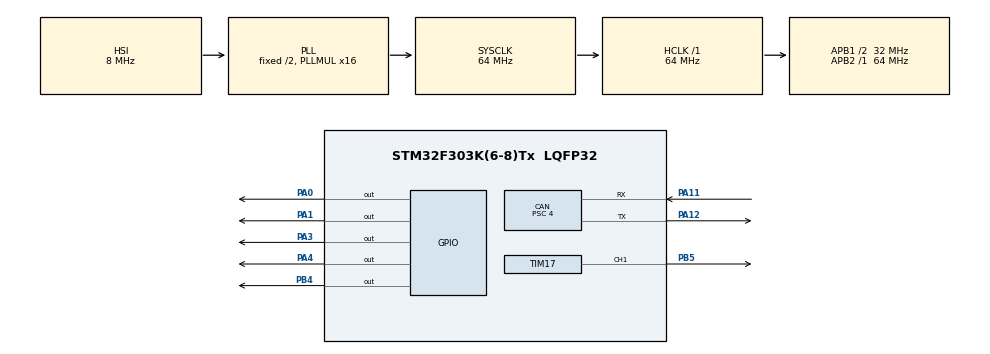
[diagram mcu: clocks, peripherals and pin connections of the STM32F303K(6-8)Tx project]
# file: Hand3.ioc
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CAN.BS1=CAN_BS1_13TQ
CAN.BS2=CAN_BS2_4TQ
CAN.CalculateBaudRate=444444
CAN.CalculateTimeBit=2250.00
CAN.CalculateTimeQuantum=125.0
CAN.Prescaler=4
Mcu.Family=STM32F3
Mcu.Name=STM32F303K(6-8)Tx
Mcu.Package=LQFP32
NVIC.CAN_RX0_IRQn=true\:0\:0\:false\:false\:true\:true\:true
NVIC.PriorityGroup=NVIC_PRIORITYGROUP_4
NVIC.TIM2_IRQn=true\:0\:0\:false\:false\:true\:true\:true
PA0.Signal=GPIO_Output
PA1.Signal=GPIO_Output
PA11.Mode=CAN_Activate
PA11.Signal=CAN_RX
PA12.Mode=CAN_Activate
PA12.Signal=CAN_TX
PA3.Signal=GPIO_Output
PA4.Signal=GPIO_Output
PB4.Signal=GPIO_Output
PB5.Signal=S_TIM17_CH1
ProjectManager.HeapSize=0x200
ProjectManager.StackSize=0x400
ProjectManager.TargetToolchain=STM32CubeIDE
RCC.AHBFreq_Value=64000000
RCC.APB1CLKDivider=RCC_HCLK_DIV2
RCC.APB1Freq_Value=32000000
RCC.APB1TimFreq_Value=64000000
RCC.APB2Freq_Value=64000000
RCC.APB2TimFreq_Value=64000000
RCC.CortexFreq_Value=64000000
RCC.HCLKFreq_Value=64000000
RCC.HSE_VALUE=8000000
RCC.HSI_VALUE=8000000
RCC.PLLMUL=RCC_PLL_MUL16
RCC.SYSCLKFreq_VALUE=64000000
RCC.SYSCLKSourceVirtual=RCC_SYSCLKSOURCE_PLLCLK
SH.S_TIM17_CH1.0=TIM17_CH1,PWM Generation1 CH1
TIM17.Channel=TIM_CHANNEL_1
TIM17.Period=999
TIM17.Prescaler=31
TIM2.Period=20
TIM2.Prescaler=6400-1
VP_TIM17_VS_ClockSourceINT.Mode=Enable_Timer
VP_TIM2_VS_ClockSourceINT.Mode=Internal
board=custom

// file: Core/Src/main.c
/* USER CODE BEGIN Header */
/* USER CODE END Header */
#include "main.h"

CAN_HandleTypeDef hcan;

TIM_HandleTypeDef htim2;
TIM_HandleTypeDef htim17;

void SystemClock_Config(void);
static void MX_GPIO_Init(void);
static void MX_CAN_Init(void);
static void MX_TIM2_Init(void);
static void MX_TIM17_Init(void);

/* USER CODE BEGIN 0 */

CAN_FilterTypeDef filter;
void Filter_Init(){
	filter.FilterIdHigh         = 0;
	filter.FilterIdLow          = 0;
	filter.FilterMaskIdHigh     = 0;
	filter.FilterMaskIdLow      = 0;
	filter.FilterScale          = CAN_FILTERSCALE_32BIT;
	filter.FilterFIFOAssignment = CAN_FILTER_FIFO0;
	filter.FilterBank           = 0;
	filter.FilterMode           = CAN_FILTERMODE_IDMASK;
	filter.SlaveStartFilterBank = 14;
	filter.FilterActivation     = ENABLE;
	HAL_CAN_ConfigFilter(&hcan, &filter);
}

uint32_t id;
uint32_t dlc;
uint8_t data[8];
uint8_t switch_data[2]={'T','T'};

CAN_TxHeaderTypeDef TxHeader;
uint32_t TxMailbox;
uint8_t TxData[8];

int wait_time=0;
int roop_time=0;
int step=0;
int close_step_left=0;
int devide_open_count=-1;

void HAL_CAN_RxFifo0MsgPendingCallback(CAN_HandleTypeDef *hcan)
{

	CAN_RxHeaderTypeDef RxHeader;
	uint8_t RxData[8];

    if (HAL_CAN_GetRxMessage(hcan, CAN_RX_FIFO0, &RxHeader, RxData) == HAL_OK)
    {
    	if(RxHeader.StdId==0x552){
			id = (RxHeader.IDE == CAN_ID_STD)? RxHeader.StdId : RxHeader.ExtId;
			dlc = RxHeader.DLC;

/*
			if(RxData[1]=='C'){
				close_step_left=100;
			}
			else if(RxData[1]=='O'){
				close_step_left=0;
			}

			if(RxData[6]=='T' && switch_data[0]=='T' && switch_data[1]=='T' && step==0){
				wait_time=3500;
				step=1;
			}

			if(RxData[6]=='T' && switch_data[0]=='T' && switch_data[1]=='T' && step==3){
				wait_time=3500;
				step=4;
			}
*/

			if(RxData[6]=='T'  && step==0){
				wait_time=6000;
				step=1;
			}

			data[0] = RxData[0];
			data[1] = RxData[1];
			data[2] = RxData[2];
			data[3] = RxData[3];
			data[4] = RxData[4];
			data[5] = RxData[5];
			data[6] = RxData[6];
			data[7] = RxData[7];
    	}
    }

    /*
	if(RxHeader.StdId==0x334){
		id = (RxHeader.IDE == CAN_ID_STD)? RxHeader.StdId : RxHeader.ExtId;     // ID
		dlc = RxHeader.DLC;                                                     // DLC
		if(RxData[0]=='T'){
			switch_data[0]=RxData[0];
		}
		if(RxData[1]=='T'){
			switch_data[1]=RxData[1];
		}

	}
	*/

}

#define DEVIDE_OPEN_SPEED 190
#define INIT_OPEN_COUNT 2200

int stepping_output[4][2]={{0,0},{0,1},{1,1},{1,0}};
int stepping_step=0;
int open_count=0;

void HAL_TIM_PeriodElapsedCallback(TIM_HandleTypeDef *htim)
{
    if (htim == &htim2){

		if(devide_open_count>0){
			devide_open_count--;
			if(devide_open_count == 0){
				if(step==2){
					step=0;
				}
			}
		}

    	if(1400 < devide_open_count && devide_open_count <=2200){
			__HAL_TIM_SET_COMPARE(&htim17,TIM_CHANNEL_1,DEVIDE_OPEN_SPEED);
			HAL_GPIO_WritePin(GPIOB, GPIO_PIN_4, GPIO_PIN_SET);
    	}
    	else if( 0 <= devide_open_count && devide_open_count <800){
			__HAL_TIM_SET_COMPARE(&htim17,TIM_CHANNEL_1,DEVIDE_OPEN_SPEED);
			HAL_GPIO_WritePin(GPIOB, GPIO_PIN_4, GPIO_PIN_RESET);
    	}
    	else if(step ==1){
    		HAL_GPIO_WritePin(GPIOB, GPIO_PIN_4, GPIO_PIN_SET);
			__HAL_TIM_SET_COMPARE(&htim17,TIM_CHANNEL_1,110);
    	}
    	else{
			__HAL_TIM_SET_COMPARE(&htim17,TIM_CHANNEL_1,0);
    	}

    	if(wait_time>0){
    		wait_time--;
    		if(wait_time==0){
    			if(step==1){
					step=2;
					devide_open_count=INIT_OPEN_COUNT;
    			}

    		}
    	}

    	/*
    	if(3800 < devide_open_count && devide_open_count <=4300){
			__HAL_TIM_SET_COMPARE(&htim17,TIM_CHANNEL_1,DEVIDE_OPEN_SPEED);
			HAL_GPIO_WritePin(GPIOB, GPIO_PIN_4, GPIO_PIN_SET);
    	}
    	else if( (4300 <= devide_open_count && devide_open_count <5300) || (open_count>0) ){
			__HAL_TIM_SET_COMPARE(&htim17,TIM_CHANNEL_1,DEVIDE_OPEN_SPEED);
			HAL_GPIO_WritePin(GPIOB, GPIO_PIN_4, GPIO_PIN_RESET);
			if(open_count >0){
				open_count--;
			}
    	}
    	else if(step ==1 || step==2 || step==4 || step==5){
    		HAL_GPIO_WritePin(GPIOB, GPIO_PIN_4, GPIO_PIN_SET);
			__HAL_TIM_SET_COMPARE(&htim17,TIM_CHANNEL_1,110);

    	}
    	else{
			__HAL_TIM_SET_COMPARE(&htim17,TIM_CHANNEL_1,0);
    	}

    	if(wait_time>0){
    		wait_time--;
    		if(wait_time==0){
    			if(step==1){
					roop_time=2;
					step=2;
					devide_open_count=INIT_OPEN_COUNT;
    			}
    			else if(step==4){
					step=5;
					devide_open_count=INIT_OPEN_COUNT;
    			}

    		}
    	}

    	if(data[1]=='O'){
    		stepping_step++;
    		stepping_step%=4;
    	}
    	else if(data[1]=='C'){
    		stepping_step--;
    		if(stepping_step<0){
    			stepping_step+=4;
    		}
    	}

    	if(stepping_output[stepping_step%4][0]==0){
    		HAL_GPIO_WritePin(GPIOA, GPIO_PIN_0,GPIO_PIN_RESET);
    		HAL_GPIO_WritePin(GPIOA, GPIO_PIN_1,GPIO_PIN_SET);
    	}
    	else {
    		HAL_GPIO_WritePin(GPIOA, GPIO_PIN_0,GPIO_PIN_SET);
    		HAL_GPIO_WritePin(GPIOA, GPIO_PIN_1,GPIO_PIN_RESET);
    	}
    	if(stepping_output[stepping_step%4][1]==0){
    		HAL_GPIO_WritePin(GPIOA, GPIO_PIN_3,GPIO_PIN_RESET);
    		HAL_GPIO_WritePin(GPIOA, GPIO_PIN_4,GPIO_PIN_SET);
    	}
    	else {
    		HAL_GPIO_WritePin(GPIOA, GPIO_PIN_3,GPIO_PIN_SET);
    		HAL_GPIO_WritePin(GPIOA, GPIO_PIN_4,GPIO_PIN_RESET);
    	}

		if(devide_open_count>0){
			devide_open_count--;
			if(devide_open_count == 0){
				if(roop_time>0){
					roop_time--;
					devide_open_count=INIT_OPEN_COUNT;
				}
				else{
					if(step==2){
						step++;
					}
					else if(step==5){
						step++;
						open_count=300;
					}
				}
			}
		}

    	if(3800 < devide_open_count && devide_open_count <=4300){
			__HAL_TIM_SET_COMPARE(&htim17,TIM_CHANNEL_1,DEVIDE_OPEN_SPEED);
			HAL_GPIO_WritePin(GPIOB, GPIO_PIN_4, GPIO_PIN_SET);
    	}
    	else if( (4300 <= devide_open_count && devide_open_count <5300) || (open_count>0) ){
			__HAL_TIM_SET_COMPARE(&htim17,TIM_CHANNEL_1,DEVIDE_OPEN_SPEED);
			HAL_GPIO_WritePin(GPIOB, GPIO_PIN_4, GPIO_PIN_RESET);
			if(open_count >0){
				open_count--;
			}
    	}
    	else if(step ==1 || step==2 || step==4 || step==5){
    		HAL_GPIO_WritePin(GPIOB, GPIO_PIN_4, GPIO_PIN_SET);
			__HAL_TIM_SET_COMPARE(&htim17,TIM_CHANNEL_1,110);

    	}
    	else{
			__HAL_TIM_SET_COMPARE(&htim17,TIM_CHANNEL_1,0);
    	}

    	if(wait_time>0){
    		wait_time--;
    		if(wait_time==0){
    			if(step==1){
					roop_time=2;
					step=2;
					devide_open_count=INIT_OPEN_COUNT;
    			}
    			else if(step==4){
					step=5;
					devide_open_count=INIT_OPEN_COUNT;
    			}

    		}
    	}

    	*/

    }
}

/* USER CODE END 0 */

int main(void)
{

  /* MCU Configuration--------------------------------------------------------*/

  /* Reset of all peripherals, Initializes the Flash interface and the Systick. */
  HAL_Init();

  /* Configure the system clock */
  SystemClock_Config();

  /* Initialize all configured peripherals */
  MX_GPIO_Init();
  MX_CAN_Init();
  MX_TIM2_Init();
  MX_TIM17_Init();
  /* USER CODE BEGIN 2 */
	if(HAL_TIM_PWM_Start(&htim17, TIM_CHANNEL_1)!=HAL_OK){
	  Error_Handler();
	}

HAL_CAN_Start(&hcan);
Filter_Init();
HAL_CAN_ActivateNotification(&hcan, CAN_IT_RX_FIFO0_MSG_PENDING);

  HAL_TIM_Base_Start_IT(&htim2);

	HAL_CAN_Start(&hcan);
	Filter_Init();
	HAL_CAN_ActivateNotification(&hcan, CAN_IT_RX_FIFO0_MSG_PENDING);
	HAL_GPIO_WritePin(GPIOA, GPIO_PIN_0,GPIO_PIN_RESET);
	HAL_GPIO_WritePin(GPIOA, GPIO_PIN_1,GPIO_PIN_SET);
	HAL_GPIO_WritePin(GPIOA, GPIO_PIN_3,GPIO_PIN_RESET);
	HAL_GPIO_WritePin(GPIOA, GPIO_PIN_4,GPIO_PIN_SET);
	HAL_GPIO_WritePin(GPIOB, GPIO_PIN_4, GPIO_PIN_RESET);

  /* USER CODE END 2 */

  /* Infinite loop */
	while (1)
	{

	}
}

void SystemClock_Config(void)
{
  RCC_OscInitTypeDef RCC_OscInitStruct = {0};
  RCC_ClkInitTypeDef RCC_ClkInitStruct = {0};

  /** Initializes the RCC Oscillators according to the specified parameters
  * in the RCC_OscInitTypeDef structure.
  */
  RCC_OscInitStruct.OscillatorType = RCC_OSCILLATORTYPE_HSI;
  RCC_OscInitStruct.HSIState = RCC_HSI_ON;
  RCC_OscInitStruct.HSICalibrationValue = RCC_HSICALIBRATION_DEFAULT;
  RCC_OscInitStruct.PLL.PLLState = RCC_PLL_ON;
  RCC_OscInitStruct.PLL.PLLSource = RCC_PLLSOURCE_HSI;
  RCC_OscInitStruct.PLL.PLLMUL = RCC_PLL_MUL16;
  if (HAL_RCC_OscConfig(&RCC_OscInitStruct) != HAL_OK)
  {
    Error_Handler();
  }
  /** Initializes the CPU, AHB and APB buses clocks
  */
  RCC_ClkInitStruct.ClockType = RCC_CLOCKTYPE_HCLK|RCC_CLOCKTYPE_SYSCLK
                              |RCC_CLOCKTYPE_PCLK1|RCC_CLOCKTYPE_PCLK2;
  RCC_ClkInitStruct.SYSCLKSource = RCC_SYSCLKSOURCE_PLLCLK;
  RCC_ClkInitStruct.AHBCLKDivider = RCC_SYSCLK_DIV1;
  RCC_ClkInitStruct.APB1CLKDivider = RCC_HCLK_DIV2;
  RCC_ClkInitStruct.APB2CLKDivider = RCC_HCLK_DIV1;

  if (HAL_RCC_ClockConfig(&RCC_ClkInitStruct, FLASH_LATENCY_2) != HAL_OK)
  {
    Error_Handler();
  }
}

static void MX_CAN_Init(void)
{

  hcan.Instance = CAN;
  hcan.Init.Prescaler = 4;
  hcan.Init.Mode = CAN_MODE_NORMAL;
  hcan.Init.SyncJumpWidth = CAN_SJW_1TQ;
  hcan.Init.TimeSeg1 = CAN_BS1_13TQ;
  hcan.Init.TimeSeg2 = CAN_BS2_4TQ;
  hcan.Init.TimeTriggeredMode = DISABLE;
  hcan.Init.AutoBusOff = DISABLE;
  hcan.Init.AutoWakeUp = DISABLE;
  hcan.Init.AutoRetransmission = DISABLE;
  hcan.Init.ReceiveFifoLocked = DISABLE;
  hcan.Init.TransmitFifoPriority = DISABLE;
  if (HAL_CAN_Init(&hcan) != HAL_OK)
  {
    Error_Handler();
  }

}

static void MX_TIM2_Init(void)
{

  TIM_ClockConfigTypeDef sClockSourceConfig = {0};
  TIM_MasterConfigTypeDef sMasterConfig = {0};

  htim2.Instance = TIM2;
  htim2.Init.Prescaler = 6400-1;
  htim2.Init.CounterMode = TIM_COUNTERMODE_UP;
  htim2.Init.Period = 20;
  htim2.Init.ClockDivision = TIM_CLOCKDIVISION_DIV1;
  htim2.Init.AutoReloadPreload = TIM_AUTORELOAD_PRELOAD_DISABLE;
  if (HAL_TIM_Base_Init(&htim2) != HAL_OK)
  {
    Error_Handler();
  }
  sClockSourceConfig.ClockSource = TIM_CLOCKSOURCE_INTERNAL;
  if (HAL_TIM_ConfigClockSource(&htim2, &sClockSourceConfig) != HAL_OK)
  {
    Error_Handler();
  }
  sMasterConfig.MasterOutputTrigger = TIM_TRGO_RESET;
  sMasterConfig.MasterSlaveMode = TIM_MASTERSLAVEMODE_DISABLE;
  if (HAL_TIMEx_MasterConfigSynchronization(&htim2, &sMasterConfig) != HAL_OK)
  {
    Error_Handler();
  }

}

static void MX_TIM17_Init(void)
{

  TIM_OC_InitTypeDef sConfigOC = {0};
  TIM_BreakDeadTimeConfigTypeDef sBreakDeadTimeConfig = {0};

  htim17.Instance = TIM17;
  htim17.Init.Prescaler = 31;
  htim17.Init.CounterMode = TIM_COUNTERMODE_UP;
  htim17.Init.Period = 999;
  htim17.Init.ClockDivision = TIM_CLOCKDIVISION_DIV1;
  htim17.Init.RepetitionCounter = 0;
  htim17.Init.AutoReloadPreload = TIM_AUTORELOAD_PRELOAD_DISABLE;
  if (HAL_TIM_Base_Init(&htim17) != HAL_OK)
  {
    Error_Handler();
  }
  if (HAL_TIM_PWM_Init(&htim17) != HAL_OK)
  {
    Error_Handler();
  }
  sConfigOC.OCMode = TIM_OCMODE_PWM1;
  sConfigOC.Pulse = 0;
  sConfigOC.OCPolarity = TIM_OCPOLARITY_HIGH;
  sConfigOC.OCNPolarity = TIM_OCNPOLARITY_HIGH;
  sConfigOC.OCFastMode = TIM_OCFAST_DISABLE;
  sConfigOC.OCIdleState = TIM_OCIDLESTATE_RESET;
  sConfigOC.OCNIdleState = TIM_OCNIDLESTATE_RESET;
  if (HAL_TIM_PWM_ConfigChannel(&htim17, &sConfigOC, TIM_CHANNEL_1) != HAL_OK)
  {
    Error_Handler();
  }
  sBreakDeadTimeConfig.OffStateRunMode = TIM_OSSR_DISABLE;
  sBreakDeadTimeConfig.OffStateIDLEMode = TIM_OSSI_DISABLE;
  sBreakDeadTimeConfig.LockLevel = TIM_LOCKLEVEL_OFF;
  sBreakDeadTimeConfig.DeadTime = 0;
  sBreakDeadTimeConfig.BreakState = TIM_BREAK_DISABLE;
  sBreakDeadTimeConfig.BreakPolarity = TIM_BREAKPOLARITY_HIGH;
  sBreakDeadTimeConfig.BreakFilter = 0;
  sBreakDeadTimeConfig.AutomaticOutput = TIM_AUTOMATICOUTPUT_DISABLE;
  if (HAL_TIMEx_ConfigBreakDeadTime(&htim17, &sBreakDeadTimeConfig) != HAL_OK)
  {
    Error_Handler();
  }
  HAL_TIM_MspPostInit(&htim17);

}

static void MX_GPIO_Init(void)
{
  GPIO_InitTypeDef GPIO_InitStruct = {0};

  /* GPIO Ports Clock Enable */
  __HAL_RCC_GPIOA_CLK_ENABLE();
  __HAL_RCC_GPIOB_CLK_ENABLE();

  /*Configure GPIO pin Output Level */
  HAL_GPIO_WritePin(GPIOA, GPIO_PIN_0|GPIO_PIN_1|GPIO_PIN_3|GPIO_PIN_4, GPIO_PIN_RESET);

  /*Configure GPIO pin Output Level */
  HAL_GPIO_WritePin(GPIOB, GPIO_PIN_4, GPIO_PIN_RESET);

  /*Configure GPIO pins : PA0 PA1 PA3 PA4 */
  GPIO_InitStruct.Pin = GPIO_PIN_0|GPIO_PIN_1|GPIO_PIN_3|GPIO_PIN_4;
  GPIO_InitStruct.Mode = GPIO_MODE_OUTPUT_PP;
  GPIO_InitStruct.Pull = GPIO_NOPULL;
  GPIO_InitStruct.Speed = GPIO_SPEED_FREQ_LOW;
  HAL_GPIO_Init(GPIOA, &GPIO_InitStruct);

  /*Configure GPIO pin : PB4 */
  GPIO_InitStruct.Pin = GPIO_PIN_4;
  GPIO_InitStruct.Mode = GPIO_MODE_OUTPUT_PP;
  GPIO_InitStruct.Pull = GPIO_NOPULL;
  GPIO_InitStruct.Speed = GPIO_SPEED_FREQ_LOW;
  HAL_GPIO_Init(GPIOB, &GPIO_InitStruct);

}

void Error_Handler(void)
{
}

/************************ (C) COPYRIGHT STMicroelectronics *****END OF FILE****/
